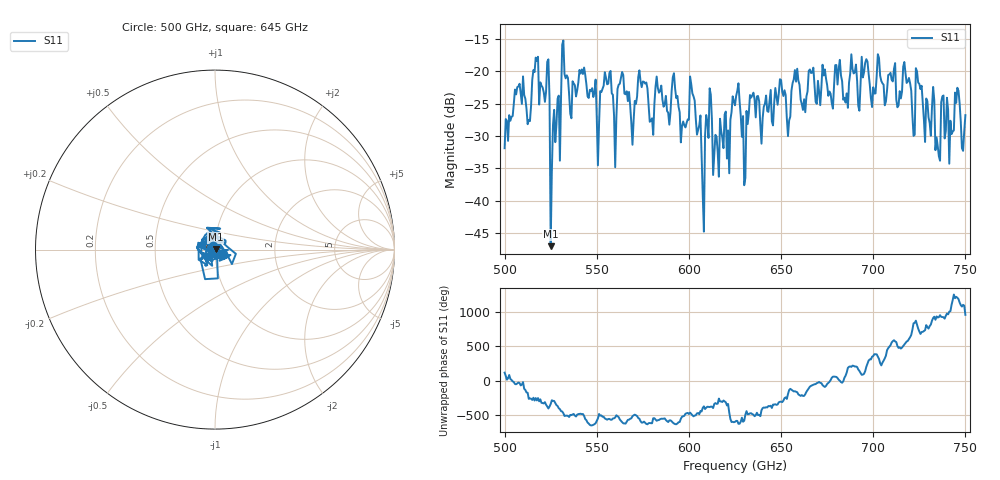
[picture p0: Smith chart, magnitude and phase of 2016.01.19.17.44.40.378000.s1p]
!Created with skrf (http://scikit-rf.org).
# GHz S RI R 50.0
!freq ReS11 ImS11
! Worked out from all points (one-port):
!   401 points, 500 GHz to 750 GHz, reference 50 ohm
!   lowest |S11| = -47.0 dB at 525 GHz (marker M1), VSWR 1.01, Z = 50.4 + j0.182 ohm
!   |S11| at or under -10 dB: start of sweep to end of sweep
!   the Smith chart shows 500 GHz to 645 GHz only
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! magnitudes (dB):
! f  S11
! 500 GHz  -31.9
! 506.9 GHz  -22.4
! 513.1 GHz  -27.5
! 516.9 GHz  -17.9
! 523.1 GHz  -18.5
! 525 GHz  -47.0
! 531.2 GHz  -15.9
! 551.2 GHz  -28.1
! 556.2 GHz  -21.9
! 559.4 GHz  -26.8
! 562.5 GHz  -21.9
! 569.4 GHz  -31.3
! 573.8 GHz  -21.5
! 579.4 GHz  -27.6
! 593.8 GHz  -23.8
! 601.9 GHz  -23.4
! 607.5 GHz  -39.1
! 610.6 GHz  -30.3
! 615 GHz  -30.1
! 625 GHz  -25.2
! 629.4 GHz  -26.9
! 634.4 GHz  -23.7
! 656.2 GHz  -21.8
! 687.5 GHz  -20.4
! 718.8 GHz  -21.6
! 735 GHz  -31.6
! 745.6 GHz  -22.5
! 750 GHz  -26.8
